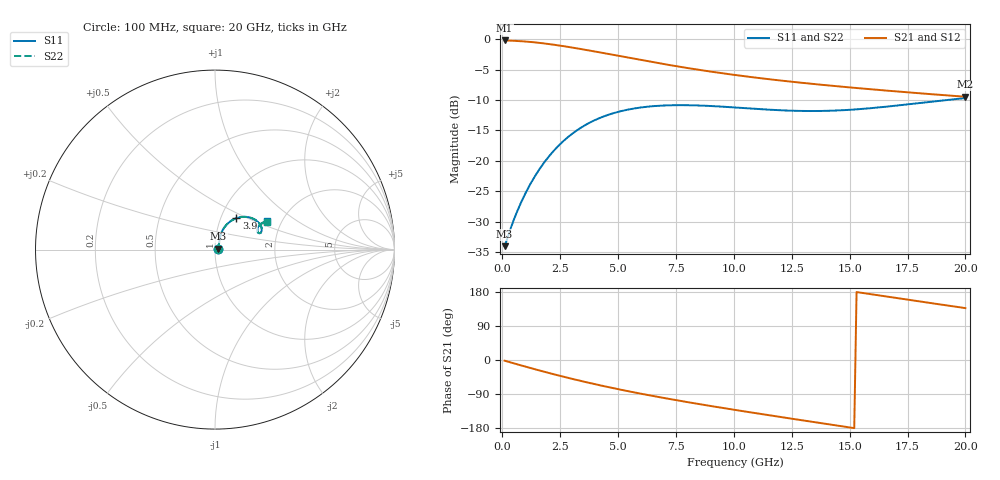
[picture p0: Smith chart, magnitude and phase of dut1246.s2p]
! Touchstone file exported from HFSS 2024.1.0
!  File:  C:/UserFiles/LocalFiles/RDL_TSV_Batchsim/temp_RDL_TSV_1246_1780268399.aedt
!  Generated:  07:16:41 AM Jun  1, 2026
!  Design:  RDL_TSV
!  Project:  temp_RDL_TSV_1246_1780268399
!  Setup:  Setup1
!  Solution:  Sweep
! Variables:
!  dtsv = 6.41um
!  hbump = 3um
!  htsv = 83.88um
!  ldown = 277.66um
!  lrdl = 599.49um
!  p = 40
!  p1 = 44.67um
!  rhole = 10um
!  subl = 3230.94um
!  t = 450um
!  tdown = 2.36um
!  trdl = 4.6um
!  viad = 10um
!  wdown = 14.7um
!  wrdl = 20.41um
!  xbump = 18um
# GHz S MA R 50.000000
! Terminal data exported
! Port[1] = TM1_1_T1
! Port[2] = TM1_4_T1
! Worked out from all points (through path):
!   200 points, 100 MHz to 20 GHz, reference 50 ohm
!   highest |S21| = -0.17 dB at 100 MHz (marker M1); lowest = -9.4 dB at 20 GHz (marker M2)
!   group delay of S21, straight-line fit = 29.4 ps
!   lowest |S11| = -34.1 dB at 100 MHz (marker M3), VSWR 1.04, Z = 51.9 + j0.576 ohm
!   |S11| at or under -10 dB: start of sweep to 19.15 GHz
!   |S22| runs from -34.1 to -9.7 dB; largest |S21 - S12| = 8.3e-15
!   S11 on the Smith chart (normalised r, x): 100 MHz: 1.04, +0.01; 3.9 GHz: 1.19, +0.43; 20 GHz: 1.68, +0.59
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0.1  0.01982 16.3  0.9808 -1.8  0.9808 -1.8  0.01982 16.3
! Gamma 0 0 0 0
! Port Impedance 50 0 50 0
0.5  0.03278 48.7  0.9745 -8.9  0.9745 -8.9  0.03279 48.7
0.8  0.04493 59.2  0.9673 -14.1  0.9673 -14.1  0.04493 59.2
1.1  0.05883 65.0  0.9578 -19.2  0.9578 -19.2  0.05883 65.0
1.5  0.07958 68.5  0.9417 -25.9  0.9417 -25.9  0.07958 68.5
1.9  0.1021 69.1  0.9223 -32.5  0.9223 -32.5  0.1021 69.1
2.4  0.1315 67.4  0.8948 -40.4  0.8948 -40.4  0.1315 67.4
2.9  0.1605 64.1  0.8649 -48.0  0.8649 -48.0  0.1605 64.2
3.5  0.1928 59.2  0.8272 -56.8  0.8272 -56.8  0.1929 59.2
3.9  0.2121 55.6  0.8017 -62.4  0.8017 -62.4  0.2121 55.7
4.5  0.2367 50.3  0.764 -70.5  0.764 -70.5  0.2368 50.3
5.2  0.2586 44.3  0.7215 -79.4  0.7215 -79.4  0.2588 44.3
6  0.2754 38.1  0.6763 -89.1  0.6763 -89.1  0.2756 38.1
6.8  0.2845 32.8  0.6351 -98.2  0.6351 -98.2  0.2848 32.8
8.4  0.286 25.0  0.5655 -115.3  0.5655 -115.3  0.2866 25.0
10.1  0.2748 20.7  0.508 -132.2  0.508 -132.2  0.2755 20.7
11.7  0.2627 20.3  0.4659 -147.4  0.4659 -147.4  0.2635 20.3
13.4  0.2572 22.8  0.4303 -163.3  0.4303 -163.3  0.2579 22.6
15  0.2632 26.1  0.4026 -178.0  0.4026 -178.0  0.2638 25.9
16.7  0.2808 28.8  0.3775 166.5  0.3775 166.5  0.2811 28.5
18.4  0.305 29.5  0.3555 151.2  0.3555 151.2  0.305 29.2
20  0.3286 28.5  0.3372 136.9  0.3372 136.9  0.3283 28.2
